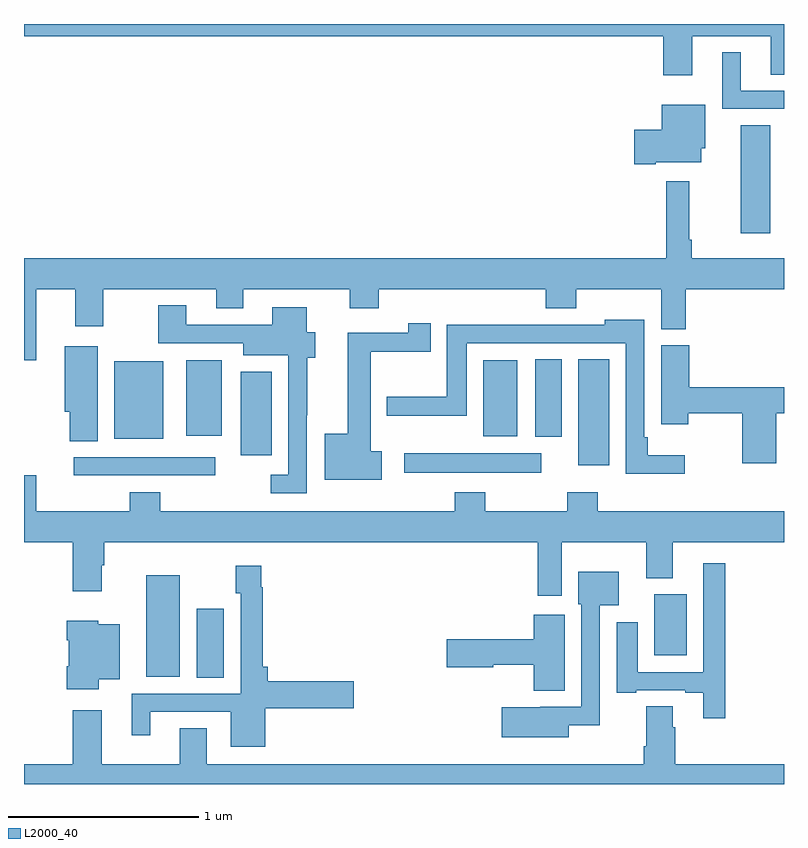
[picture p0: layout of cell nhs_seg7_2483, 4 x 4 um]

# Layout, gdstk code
import gdstk
lib = gdstk.Library(unit=1e-6, precision=1e-09)
def R(c, l, rs):  # rectangles x0, y0, x1, y1
    for r in rs: c.add(gdstk.rectangle(r[:2], r[2:], *l))
def P(c, l, *ps):  # polygons
    for p in ps: c.add(gdstk.Polygon(p, *l))
L2000_40 = (2000, 40)

nhs_seg7_2483 = lib.new_cell('nhs_seg7_2483')
R(nhs_seg7_2483, L2000_40, [(273.908,1010.56,274.051,1010.923), (273.644,1010.564,273.82,1011.1), (276.317,1010.678,276.487,1010.998), (273.261,1011.624,274.006,1011.72), (275.001,1011.638,275.722,1011.742), (275.918,1011.678,276.079,1012.235), (274.142,1011.729,274.303,1012.171), (273.476,1011.818,273.733,1012.225), (275.69,1011.827,275.83,1012.235), (275.417,1011.83,275.596,1012.231), (273.854,1011.833,274.042,1012.231), (276.773,1012.899,276.928,1013.468)])
P(nhs_seg7_2483, L2000_40, [(276.517,1013.936),(276.929,1013.936),(276.929,1013.734),(277,1013.734),(277,1014),(273,1014),(273,1013.936),(276.365,1013.936),(276.365,1013.73),(276.517,1013.73)],
  [(277,1013.649),(276.772,1013.649),(276.772,1013.851),(276.674,1013.851),(276.674,1013.553),(277,1013.553)],
  [(276.325,1013.273),(276.565,1013.273),(276.565,1013.346),(276.586,1013.346),(276.586,1013.575),(276.356,1013.575),(276.356,1013.444),(276.213,1013.444),(276.213,1013.261),(276.325,1013.261)],
  [(273,1012.23),(273.064,1012.23),(273.064,1012.604),(273.269,1012.604),(273.269,1012.41),(273.417,1012.41),(273.417,1012.604),(274.013,1012.604),(274.013,1012.505),(274.153,1012.505),(274.153,1012.604),(274.715,1012.604),(274.715,1012.505),(274.868,1012.505),(274.868,1012.604),(275.747,1012.604),(275.747,1012.505),(275.907,1012.505),(275.907,1012.604),(276.353,1012.604),(276.353,1012.393),(276.482,1012.393),(276.482,1012.604),(277,1012.604),(277,1012.768),(276.515,1012.768),(276.515,1012.864),(276.5,1012.864),(276.5,1013.173),(276.379,1013.173),(276.379,1012.768),(273,1012.768)],
  [(274.488,1011.94),(274.49,1011.94),(274.49,1012.244),(274.534,1012.244),(274.534,1012.378),(274.489,1012.378),(274.489,1012.51),(274.307,1012.51),(274.307,1012.416),(273.853,1012.416),(273.853,1012.519),(273.706,1012.519),(273.706,1012.32),(274.154,1012.32),(274.154,1012.256),(274.392,1012.256),(274.392,1011.627),(274.299,1011.627),(274.299,1011.531),(274.488,1011.531)],
  [(276.478,1011.73),(276.284,1011.73),(276.284,1011.826),(276.264,1011.826),(276.264,1012.444),(276.057,1012.444),(276.057,1012.416),(275.663,1012.416),(275.663,1012.418),(275.225,1012.418),(275.225,1012.038),(274.91,1012.038),(274.91,1011.938),(275.329,1011.938),(275.329,1012.32),(276.168,1012.32),(276.168,1011.632),(276.478,1011.632)],
  [(274.882,1011.752),(274.825,1011.752),(274.825,1012.276),(275.14,1012.276),(275.14,1012.426),(275.023,1012.426),(275.023,1012.375),(274.703,1012.375),(274.703,1011.844),(274.583,1011.844),(274.583,1011.602),(274.882,1011.602)],
  [(276.959,1011.952),(277,1011.952),(277,1012.088),(276.5,1012.088),(276.5,1012.308),(276.353,1012.308),(276.353,1011.894),(276.495,1011.894),(276.495,1011.952),(276.781,1011.952),(276.781,1011.687),(276.959,1011.687)],
  [(273.388,1012.303),(273.215,1012.303),(273.215,1011.959),(273.242,1011.959),(273.242,1011.805),(273.388,1011.805)],
  [(275.83,1011.272),(276.275,1011.272),(276.275,1011.083),(276.415,1011.083),(276.415,1011.272),(277,1011.272),(277,1011.436),(276.02,1011.436),(276.02,1011.535),(275.86,1011.535),(275.86,1011.436),(275.427,1011.436),(275.427,1011.535),(275.267,1011.535),(275.267,1011.436),(273.716,1011.436),(273.716,1011.535),(273.556,1011.535),(273.556,1011.436),(273.064,1011.436),(273.064,1011.625),(273,1011.625),(273,1011.272),(273.257,1011.272),(273.257,1011.015),(273.409,1011.015),(273.409,1011.152),(273.422,1011.152),(273.422,1011.272),(275.705,1011.272),(275.705,1010.991),(275.83,1010.991)],
  [(276.692,1011.163),(276.576,1011.163),(276.576,1010.589),(276.229,1010.589),(276.229,1010.851),(276.119,1010.851),(276.119,1010.481),(276.223,1010.481),(276.223,1010.493),(276.479,1010.493),(276.479,1010.481),(276.575,1010.481),(276.575,1010.346),(276.692,1010.346)],
  [(274.27,1010.398),(274.735,1010.398),(274.735,1010.54),(274.283,1010.54),(274.283,1010.617),(274.256,1010.617),(274.256,1011.035),(274.249,1011.035),(274.249,1011.148),(274.114,1011.148),(274.114,1011.003),(274.14,1011.003),(274.14,1010.475),(273.566,1010.475),(273.566,1010.256),(273.664,1010.256),(273.664,1010.379),(274.088,1010.379),(274.088,1010.195),(274.27,1010.195)],
  [(275.866,1010.309),(276.03,1010.309),(276.03,1010.942),(276.13,1010.942),(276.13,1011.118),(275.918,1011.118),(275.918,1010.946),(275.934,1010.946),(275.934,1010.406),(275.718,1010.406),(275.718,1010.404),(275.514,1010.404),(275.514,1010.246),(275.866,1010.246)],
  [(275.845,1010.89),(275.684,1010.89),(275.684,1010.762),(275.226,1010.762),(275.226,1010.615),(275.469,1010.615),(275.469,1010.627),(275.684,1010.627),(275.684,1010.491),(275.845,1010.491)],
  [(273.394,1010.552),(273.505,1010.552),(273.505,1010.842),(273.39,1010.842),(273.39,1010.86),(273.224,1010.86),(273.224,1010.756),(273.236,1010.756),(273.236,1010.62),(273.224,1010.62),(273.224,1010.498),(273.394,1010.498)],
  [(277,1010.104),(276.428,1010.104),(276.428,1010.3),(276.415,1010.3),(276.415,1010.408),(276.275,1010.408),(276.275,1010.2),(276.263,1010.2),(276.263,1010.104),(273.961,1010.104),(273.961,1010.294),(273.821,1010.294),(273.821,1010.104),(273.409,1010.104),(273.409,1010.389),(273.257,1010.389),(273.257,1010.104),(273,1010.104),(273,1010),(277,1010)])

lib.write_gds('nhs_seg7_2483.gds')
